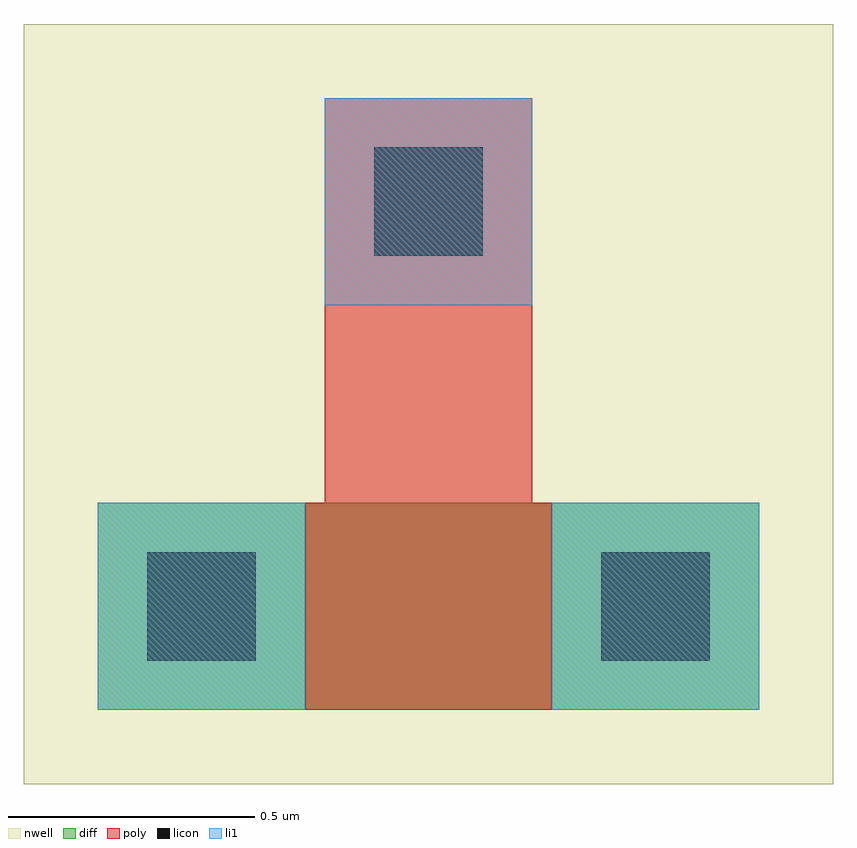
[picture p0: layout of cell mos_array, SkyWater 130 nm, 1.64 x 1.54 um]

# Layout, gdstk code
import gdstk
lib = gdstk.Library(unit=1e-6, precision=1e-09)
def R(c, l, rs):  # rectangles x0, y0, x1, y1
    for r in rs: c.add(gdstk.rectangle(r[:2], r[2:], *l))
nwell = (64, 20)
diff = (65, 20)
poly = (66, 20)
licon = (66, 44)
li1 = (67, 20)

mos_array = lib.new_cell('mos_array')
R(mos_array, nwell, [(-0.15,-0.15,1.49,1.39)])
R(mos_array, diff, [(0,0,1.34,0.42)])
R(mos_array, poly, [(0.42,0,0.92,0.42), (0.46,0.42,0.88,1.24)])
R(mos_array, licon, [(0.1,0.1,0.32,0.32), (1.02,0.1,1.24,0.32), (0.56,0.92,0.78,1.14)])
R(mos_array, li1, [(0,0,0.42,0.42), (0.92,0,1.34,0.42), (0.46,0.82,0.88,1.24)])

lib.write_gds('mos_array.gds')
